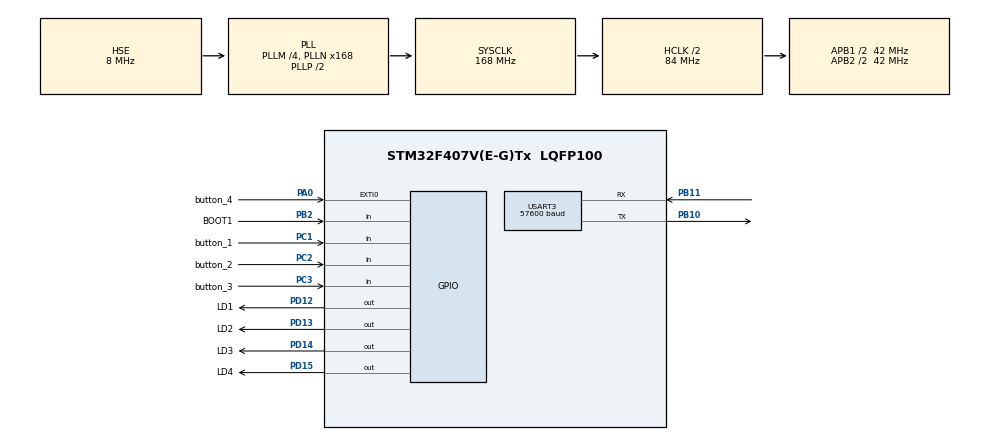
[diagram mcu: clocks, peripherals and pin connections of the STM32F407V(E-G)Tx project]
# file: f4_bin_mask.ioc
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FREERTOS.INCLUDE_eTaskGetState=1
FREERTOS.INCLUDE_pcTaskGetTaskName=1
FREERTOS.INCLUDE_uxTaskGetStackHighWaterMark=1
FREERTOS.INCLUDE_uxTaskGetStackHighWaterMark2=1
FREERTOS.INCLUDE_vTaskCleanUpResources=1
FREERTOS.INCLUDE_vTaskDelayUntil=1
FREERTOS.INCLUDE_xQueueGetMutexHolder=1
FREERTOS.INCLUDE_xSemaphoreGetMutexHolder=1
FREERTOS.INCLUDE_xTaskAbortDelay=1
FREERTOS.INCLUDE_xTaskGetCurrentTaskHandle=1
FREERTOS.INCLUDE_xTaskGetHandle=1
FREERTOS.Tasks01=defaultTask,0,128,StartDefaultTask,Default,NULL,Dynamic,NULL,NULL
FREERTOS.configENABLE_FPU=1
FREERTOS.configGENERATE_RUN_TIME_STATS=1
FREERTOS.configRECORD_STACK_HIGH_ADDRESS=1
FREERTOS.configUSE_APPLICATION_TASK_TAG=1
FREERTOS.configUSE_COUNTING_SEMAPHORES=1
FREERTOS.configUSE_CO_ROUTINES=1
FREERTOS.configUSE_DAEMON_TASK_STARTUP_HOOK=1
FREERTOS.configUSE_IDLE_HOOK=1
FREERTOS.configUSE_MALLOC_FAILED_HOOK=1
FREERTOS.configUSE_NEWLIB_REENTRANT=1
FREERTOS.configUSE_POSIX_ERRNO=1
FREERTOS.configUSE_RECURSIVE_MUTEXES=1
FREERTOS.configUSE_STATS_FORMATTING_FUNCTIONS=1
FREERTOS.configUSE_TICK_HOOK=1
FREERTOS.configUSE_TIMERS=1
FREERTOS.configUSE_TRACE_FACILITY=1
Mcu.Family=STM32F4
Mcu.Name=STM32F407V(E-G)Tx
Mcu.Package=LQFP100
NVIC.PriorityGroup=NVIC_PRIORITYGROUP_4
NVIC.TIM5_IRQn=true\:0\:0\:false\:false\:true\:false\:false\:true
NVIC.TimeBase=TIM5_IRQn
NVIC.TimeBaseIP=TIM5
PA0-WKUP.GPIO_Label=button_4
PA0-WKUP.GPIO_ModeDefaultEXTI=GPIO_MODE_EVT_RISING
PA0-WKUP.GPIO_PuPd=GPIO_PULLDOWN
PA0-WKUP.Signal=GPXTI0
PA13.GPIO_Label=SWDIO
PA13.Mode=Serial_Wire
PA13.Signal=SYS_JTMS-SWDIO
PA14.GPIO_Label=SWCLK
PA14.Mode=Serial_Wire
PA14.Signal=SYS_JTCK-SWCLK
PB10.Mode=Asynchronous
PB10.Signal=USART3_TX
PB11.Mode=Asynchronous
PB11.Signal=USART3_RX
PB2.GPIO_Label=BOOT1
PB2.GPIO_Mode=GPIO_MODE_INPUT
PB2.GPIO_PuPd=GPIO_NOPULL
PB2.Signal=GPIO_Input
PC1.GPIO_Label=button_1
PC1.GPIO_PuPd=GPIO_PULLDOWN
PC1.Signal=GPIO_Input
PC2.GPIO_Label=button_2
PC2.GPIO_PuPd=GPIO_PULLDOWN
PC2.Signal=GPIO_Input
PC3.GPIO_Label=button_3
PC3.GPIO_PuPd=GPIO_PULLDOWN
PC3.Signal=GPIO_Input
PD12.GPIO_Label=LD1
PD12.GPIO_PuPd=GPIO_NOPULL
PD12.GPIO_Speed=GPIO_SPEED_FREQ_LOW
PD12.Signal=GPIO_Output
PD13.GPIO_Label=LD2
PD13.GPIO_PuPd=GPIO_NOPULL
PD13.GPIO_Speed=GPIO_SPEED_FREQ_LOW
PD13.Signal=GPIO_Output
PD14.GPIO_Label=LD3
PD14.GPIO_PuPd=GPIO_NOPULL
PD14.GPIO_Speed=GPIO_SPEED_FREQ_LOW
PD14.Signal=GPIO_Output
PD15.GPIO_Label=LD4
PD15.GPIO_PuPd=GPIO_NOPULL
PD15.GPIO_Speed=GPIO_SPEED_FREQ_LOW
PD15.Signal=GPIO_Output
PH0-OSC_IN.GPIO_Label=PH0-OSC_IN
PH0-OSC_IN.Mode=HSE-External-Oscillator
PH0-OSC_IN.Signal=RCC_OSC_IN
PH1-OSC_OUT.GPIO_Label=PH1-OSC_OUT
PH1-OSC_OUT.Mode=HSE-External-Oscillator
PH1-OSC_OUT.Signal=RCC_OSC_OUT
ProjectManager.HeapSize=0x1000
ProjectManager.StackSize=0x2000
ProjectManager.TargetToolchain=MDK-ARM V5.27
RCC.48MHZClocksFreq_Value=48000000
RCC.AHBCLKDivider=RCC_SYSCLK_DIV2
RCC.AHBFreq_Value=84000000
RCC.APB1CLKDivider=RCC_HCLK_DIV2
RCC.APB1Freq_Value=42000000
RCC.APB1TimFreq_Value=84000000
RCC.APB2CLKDivider=RCC_HCLK_DIV2
RCC.APB2Freq_Value=42000000
RCC.APB2TimFreq_Value=84000000
RCC.CortexFreq_Value=84000000
RCC.HCLKFreq_Value=84000000
RCC.HSE_VALUE=8000000
RCC.HSI_VALUE=16000000
RCC.PLLM=4
RCC.PLLN=168
RCC.PLLQ=7
RCC.PLLSourceVirtual=RCC_PLLSOURCE_HSE
RCC.SYSCLKFreq_VALUE=168000000
RCC.SYSCLKSource=RCC_SYSCLKSOURCE_PLLCLK
RCC.VCOOutputFreq_Value=336000000
USART3.BaudRate=57600
USART3.VirtualMode=VM_ASYNC
VP_FREERTOS_VS_CMSIS_V1.Mode=CMSIS_V1
VP_SYS_VS_tim5.Mode=TIM5
board=STM32F407G-DISC1

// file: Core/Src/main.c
/* USER CODE BEGIN Header */
/**
  ******************************************************************************
  * @file           : main.c
  * @brief          : Main program body
  ******************************************************************************
  * @attention
  *
  * <h2><center>&copy; Copyright (c) 2021 STMicroelectronics.
  * All rights reserved.</center></h2>
  *
  * This software component is licensed by ST under Ultimate Liberty license
  * SLA0044, the "License"; You may not use this file except in compliance with
  * the License. You may obtain a copy of the License at:
  *                             www.st.com/SLA0044
  *
  ******************************************************************************
  */
/* USER CODE END Header */
#include "main.h"
#include "cmsis_os.h"
#include "usart.h"
#include "gpio.h"

void SystemClock_Config(void);
void MX_FREERTOS_Init(void);

/* USER CODE BEGIN 0 */
char UART_msg_TX [TX_BUFFER_SIZE];
/* USER CODE END 0 */

int main(void)
{

  /* MCU Configuration--------------------------------------------------------*/

  /* Reset of all peripherals, Initializes the Flash interface and the Systick. */
  HAL_Init();

  /* Configure the system clock */
  SystemClock_Config();

  /* Initialize all configured peripherals */
  MX_GPIO_Init();
  MX_USART3_UART_Init();
  /* USER CODE BEGIN 2 */
	UART3_SendString("hello\r\n");
  /* USER CODE END 2 */

  /* Call init function for freertos objects (in freertos.c) */
  MX_FREERTOS_Init();
  /* Start scheduler */
  osKernelStart();

  /* We should never get here as control is now taken by the scheduler */
  /* Infinite loop */
  while (1)
  {

  }
}

void SystemClock_Config(void)
{
  RCC_OscInitTypeDef RCC_OscInitStruct = {0};
  RCC_ClkInitTypeDef RCC_ClkInitStruct = {0};

  /** Configure the main internal regulator output voltage
  */
  __HAL_RCC_PWR_CLK_ENABLE();
  __HAL_PWR_VOLTAGESCALING_CONFIG(PWR_REGULATOR_VOLTAGE_SCALE1);
  /** Initializes the RCC Oscillators according to the specified parameters
  * in the RCC_OscInitTypeDef structure.
  */
  RCC_OscInitStruct.OscillatorType = RCC_OSCILLATORTYPE_HSE;
  RCC_OscInitStruct.HSEState = RCC_HSE_ON;
  RCC_OscInitStruct.PLL.PLLState = RCC_PLL_ON;
  RCC_OscInitStruct.PLL.PLLSource = RCC_PLLSOURCE_HSE;
  RCC_OscInitStruct.PLL.PLLM = 4;
  RCC_OscInitStruct.PLL.PLLN = 168;
  RCC_OscInitStruct.PLL.PLLP = RCC_PLLP_DIV2;
  RCC_OscInitStruct.PLL.PLLQ = 7;
  if (HAL_RCC_OscConfig(&RCC_OscInitStruct) != HAL_OK)
  {
    Error_Handler();
  }
  /** Initializes the CPU, AHB and APB buses clocks
  */
  RCC_ClkInitStruct.ClockType = RCC_CLOCKTYPE_HCLK|RCC_CLOCKTYPE_SYSCLK
                              |RCC_CLOCKTYPE_PCLK1|RCC_CLOCKTYPE_PCLK2;
  RCC_ClkInitStruct.SYSCLKSource = RCC_SYSCLKSOURCE_PLLCLK;
  RCC_ClkInitStruct.AHBCLKDivider = RCC_SYSCLK_DIV2;
  RCC_ClkInitStruct.APB1CLKDivider = RCC_HCLK_DIV2;
  RCC_ClkInitStruct.APB2CLKDivider = RCC_HCLK_DIV2;

  if (HAL_RCC_ClockConfig(&RCC_ClkInitStruct, FLASH_LATENCY_2) != HAL_OK)
  {
    Error_Handler();
  }
}

 /**
  * @brief  Period elapsed callback in non blocking mode
  * @note   This function is called  when TIM5 interrupt took place, inside
  * HAL_TIM_IRQHandler(). It makes a direct call to HAL_IncTick() to increment
  * a global variable "uwTick" used as application time base.
  * @param  htim : TIM handle
  * @retval None
  */
void HAL_TIM_PeriodElapsedCallback(TIM_HandleTypeDef *htim)
{
  if (htim->Instance == TIM5) {
    HAL_IncTick();
  }
}

void Error_Handler(void)
{
  __disable_irq();
  while (1)
  {
  }
}

/************************ (C) COPYRIGHT STMicroelectronics *****END OF FILE****/

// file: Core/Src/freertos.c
/* USER CODE BEGIN Header */
/**
  ******************************************************************************
  * File Name          : freertos.c
  * Description        : Code for freertos applications
  ******************************************************************************
  * @attention
  *
  * <h2><center>&copy; Copyright (c) 2021 STMicroelectronics.
  * All rights reserved.</center></h2>
  *
  * This software component is licensed by ST under Ultimate Liberty license
  * SLA0044, the "License"; You may not use this file except in compliance with
  * the License. You may obtain a copy of the License at:
  *                             www.st.com/SLA0044
  *
  ******************************************************************************
  */
/* USER CODE END Header */

#include "FreeRTOS.h"
#include "task.h"
#include "main.h"
#include "cmsis_os.h"

/* USER CODE BEGIN Includes */
#include "stdio.h"
#include "usart.h"
#include "task.h"
/* USER CODE END Includes */

/* USER CODE BEGIN Variables */
extern char UART_msg_TX [TX_BUFFER_SIZE];

osThreadId Task_button_Handle;

osTimerId osProgTimerLed;

osMessageQId LED_toogle_Queue; //обычная очередь
/* USER CODE END Variables */
osThreadId defaultTaskHandle;

/* USER CODE BEGIN FunctionPrototypes */
void key_button (void const * argument);
static void ProgTimerLedCallback(void const *argument);
/* USER CODE END FunctionPrototypes */

void StartDefaultTask(void const * argument);

void MX_FREERTOS_Init(void); /* (MISRA C 2004 rule 8.1) */

/* GetIdleTaskMemory prototype (linked to static allocation support) */
void vApplicationGetIdleTaskMemory( StaticTask_t **ppxIdleTaskTCBBuffer, StackType_t **ppxIdleTaskStackBuffer, uint32_t *pulIdleTaskStackSize );

/* GetTimerTaskMemory prototype (linked to static allocation support) */
void vApplicationGetTimerTaskMemory( StaticTask_t **ppxTimerTaskTCBBuffer, StackType_t **ppxTimerTaskStackBuffer, uint32_t *pulTimerTaskStackSize );

/* USER CODE BEGIN GET_IDLE_TASK_MEMORY */
static StaticTask_t xIdleTaskTCBBuffer;
static StackType_t xIdleStack[configMINIMAL_STACK_SIZE];

void vApplicationGetIdleTaskMemory( StaticTask_t **ppxIdleTaskTCBBuffer, StackType_t **ppxIdleTaskStackBuffer, uint32_t *pulIdleTaskStackSize )
{
  *ppxIdleTaskTCBBuffer = &xIdleTaskTCBBuffer;
  *ppxIdleTaskStackBuffer = &xIdleStack[0];
  *pulIdleTaskStackSize = configMINIMAL_STACK_SIZE;
  /* place for user code */
}
/* USER CODE END GET_IDLE_TASK_MEMORY */

/* USER CODE BEGIN GET_TIMER_TASK_MEMORY */
static StaticTask_t xTimerTaskTCBBuffer;
static StackType_t xTimerStack[configTIMER_TASK_STACK_DEPTH];

void vApplicationGetTimerTaskMemory( StaticTask_t **ppxTimerTaskTCBBuffer, StackType_t **ppxTimerTaskStackBuffer, uint32_t *pulTimerTaskStackSize )
{
  *ppxTimerTaskTCBBuffer = &xTimerTaskTCBBuffer;
  *ppxTimerTaskStackBuffer = &xTimerStack[0];
  *pulTimerTaskStackSize = configTIMER_TASK_STACK_DEPTH;
  /* place for user code */
}
/* USER CODE END GET_TIMER_TASK_MEMORY */

void MX_FREERTOS_Init(void) {

  /* USER CODE BEGIN RTOS_TIMERS */
  osTimerDef(ProgTimerLed, ProgTimerLedCallback);
	osProgTimerLed = osTimerCreate(osTimer(ProgTimerLed), osTimerOnce, NULL);
  /* USER CODE END RTOS_TIMERS */

  /* USER CODE BEGIN RTOS_QUEUES */
  osMessageQDef (LED_toogle_Queuename, 14, uint8_t); //
	LED_toogle_Queue = osMessageCreate (osMessageQ (LED_toogle_Queuename), NULL);
  /* USER CODE END RTOS_QUEUES */

  /* Create the thread(s) */
  /* definition and creation of defaultTask */
  osThreadDef(defaultTask, StartDefaultTask, osPriorityNormal, 0, 128);
  defaultTaskHandle = osThreadCreate(osThread(defaultTask), NULL);

  /* USER CODE BEGIN RTOS_THREADS */
  osThreadDef(Task_button, key_button, osPriorityNormal, 0, 128);
	Task_button_Handle = osThreadCreate(osThread(Task_button), NULL);
  /* USER CODE END RTOS_THREADS */

}

void StartDefaultTask(void const * argument)
{
  /* USER CODE BEGIN StartDefaultTask */
	uint8_t byte; //буфферный символ
	osEvent event;
  /* Infinite loop */
  for(;;)
  {
		event = osMessageGet(LED_toogle_Queue, 50);
		if (event.status == osEventMessage)
		{
			byte = event.value.v; //v - message as 32-bit value
			if (byte == 0x1)
			{
				HAL_GPIO_WritePin(LD4_GPIO_Port, LD4_Pin, GPIO_PIN_SET); //активация 4 выхода
				HAL_GPIO_WritePin(LD2_GPIO_Port, LD2_Pin, GPIO_PIN_SET); //активация 2 выхода
				UART3_SendString("button_1_on\r\n");
			}
			if (byte == 0x9)
			{
				HAL_GPIO_WritePin(LD4_GPIO_Port, LD4_Pin, GPIO_PIN_SET); //активация 4 выхода
				HAL_GPIO_WritePin(LD1_GPIO_Port, LD1_Pin, GPIO_PIN_SET); //активация 3 выхода
				HAL_GPIO_WritePin(LD2_GPIO_Port, LD2_Pin, GPIO_PIN_SET); //активация 2 выхода
				UART3_SendString("button_1_4_on\r\n");
			}
			if (byte == 0x2)
			{
				HAL_GPIO_WritePin(LD4_GPIO_Port, LD4_Pin, GPIO_PIN_SET); //активация 4 выхода
				UART3_SendString("button_2_on\r\n");
			}
			if (byte == 0x4)
			{
				HAL_GPIO_WritePin(LD4_GPIO_Port, LD4_Pin, GPIO_PIN_SET); //активация 4 выхода
				UART3_SendString("button_3_on\r\n");
			}
			if (byte == 0xC)
			{
				HAL_GPIO_WritePin(LD4_GPIO_Port, LD4_Pin, GPIO_PIN_SET); //активация 4 выхода
				HAL_GPIO_WritePin(LD3_GPIO_Port, LD3_Pin, GPIO_PIN_SET); //активация 3 выхода
				UART3_SendString("button_3_4_on\r\n");
			}
			if (byte == 0x8)
			{
				HAL_GPIO_WritePin(LD4_GPIO_Port, LD4_Pin, GPIO_PIN_SET); //активация 4 выхода
				UART3_SendString("button_4_on\r\n");
			}
			osTimerStart(osProgTimerLed, 2000); //запустим программный таймер с выключением всех светодиодов
		}
  }
  /* USER CODE END StartDefaultTask */
}

/* USER CODE BEGIN Application */
void key_button (void const * argument)
{

	uint8_t key_status = 0x0;

  for(;;)
  {

		if (HAL_GPIO_ReadPin(button_1_GPIO_Port,  button_1_Pin) == GPIO_PIN_SET) //если нажата 1 кнопка
		{
			osDelay(100); //задержка 100 мс
			if (HAL_GPIO_ReadPin(button_1_GPIO_Port,  button_1_Pin) == GPIO_PIN_SET) //если срабатывание кнопки из-за нажатия
			{
				key_status |= (0x1 << 0);
				if (HAL_GPIO_ReadPin(button_4_GPIO_Port,  button_4_Pin) == GPIO_PIN_SET) //если одновременно с первой, нажата и четвёртая кнопка
				{
					key_status |= (0x1 << 3);
				}
				osMessagePut(LED_toogle_Queue, key_status, 10);
				continue;
			}
		}
		if (HAL_GPIO_ReadPin(button_2_GPIO_Port,  button_2_Pin) == GPIO_PIN_SET) //если нажата 2 кнопка
		{
			osDelay(100); //задержка 100 мс
			if (HAL_GPIO_ReadPin(button_2_GPIO_Port,  button_2_Pin) == GPIO_PIN_SET) //если срабатывание кнопки из-за нажатия
			{
				key_status |= (0x1 << 1);
				osMessagePut(LED_toogle_Queue, key_status, 10);
				continue;
			}
		}
		if (HAL_GPIO_ReadPin(button_3_GPIO_Port,  button_3_Pin) == GPIO_PIN_SET) //если нажата 3 кнопка
		{
			osDelay(100); //задержка 100 мс
			if (HAL_GPIO_ReadPin(button_3_GPIO_Port,  button_3_Pin) == GPIO_PIN_SET) //если срабатывание кнопки из-за нажатия
			{
				key_status |= (0x1 << 2);
				if (HAL_GPIO_ReadPin(button_4_GPIO_Port,  button_4_Pin) == GPIO_PIN_SET) //если одновременно с третьей, нажата и четвёртая кнопка
				{
					key_status |= (0x1 << 3);
				}
				osMessagePut(LED_toogle_Queue, key_status, 10);
				continue;
			}
		}
		if (HAL_GPIO_ReadPin(button_4_GPIO_Port,  button_4_Pin) == GPIO_PIN_SET) //если нажата 4 кнопка
		{
			osDelay(100); //задержка 100 мс
			if (HAL_GPIO_ReadPin(button_4_GPIO_Port,  button_4_Pin) == GPIO_PIN_SET) //если срабатывание кнопки из-за нажатия
			{
				key_status |= (0x1 << 3);
			}
			osMessagePut(LED_toogle_Queue, key_status, 10);
			continue;
		}
		key_status = 0x0;
		osDelay(10);
  }
}

//------------------------------------------------------------------------------------------------------------//
static void ProgTimerLedCallback(void const *argument)
{
	(void) argument;
	HAL_GPIO_WritePin (LD1_GPIO_Port, LD1_Pin, GPIO_PIN_RESET); //выключение всех светодиодов
	HAL_GPIO_WritePin (LD2_GPIO_Port, LD2_Pin, GPIO_PIN_RESET);
	HAL_GPIO_WritePin (LD3_GPIO_Port, LD3_Pin, GPIO_PIN_RESET);
	HAL_GPIO_WritePin (LD4_GPIO_Port, LD4_Pin, GPIO_PIN_RESET);
}
/* USER CODE END Application */

/************************ (C) COPYRIGHT STMicroelectronics *****END OF FILE****/
